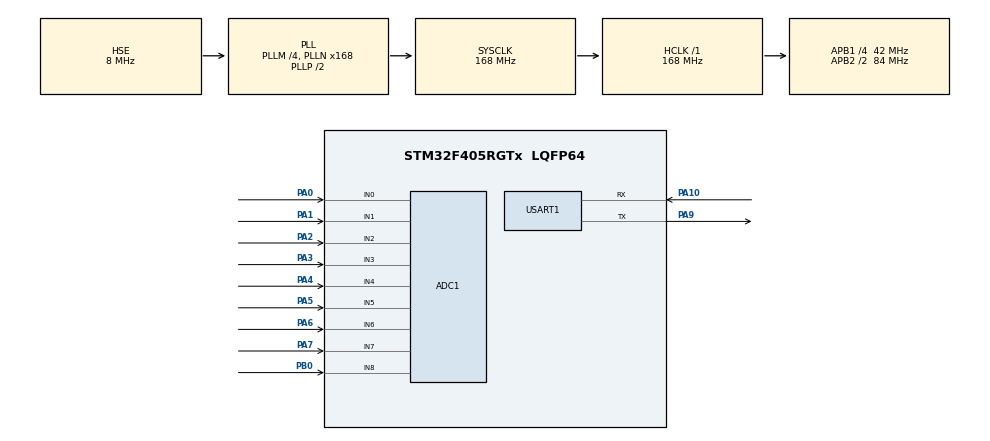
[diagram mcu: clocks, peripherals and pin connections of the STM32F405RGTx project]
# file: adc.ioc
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ADC1.Channel-0\#ChannelRegularConversion=ADC_CHANNEL_0
ADC1.Channel-1\#ChannelRegularConversion=ADC_CHANNEL_1
ADC1.Channel-2\#ChannelRegularConversion=ADC_CHANNEL_2
ADC1.Channel-3\#ChannelRegularConversion=ADC_CHANNEL_3
ADC1.Channel-4\#ChannelRegularConversion=ADC_CHANNEL_4
ADC1.Channel-5\#ChannelRegularConversion=ADC_CHANNEL_5
ADC1.Channel-6\#ChannelRegularConversion=ADC_CHANNEL_6
ADC1.Channel-7\#ChannelRegularConversion=ADC_CHANNEL_7
ADC1.ContinuousConvMode=ENABLE
ADC1.EOCSelection=ADC_EOC_SEQ_CONV
ADC1.NbrOfConversion=8
ADC1.NbrOfConversionFlag=1
ADC1.Rank-0\#ChannelRegularConversion=1
ADC1.Rank-1\#ChannelRegularConversion=2
ADC1.Rank-2\#ChannelRegularConversion=3
ADC1.Rank-3\#ChannelRegularConversion=4
ADC1.Rank-4\#ChannelRegularConversion=5
ADC1.Rank-5\#ChannelRegularConversion=6
ADC1.Rank-6\#ChannelRegularConversion=7
ADC1.Rank-7\#ChannelRegularConversion=8
ADC1.SamplingTime-0\#ChannelRegularConversion=ADC_SAMPLETIME_15CYCLES
ADC1.SamplingTime-1\#ChannelRegularConversion=ADC_SAMPLETIME_15CYCLES
ADC1.SamplingTime-2\#ChannelRegularConversion=ADC_SAMPLETIME_3CYCLES
ADC1.SamplingTime-3\#ChannelRegularConversion=ADC_SAMPLETIME_3CYCLES
ADC1.SamplingTime-4\#ChannelRegularConversion=ADC_SAMPLETIME_3CYCLES
ADC1.SamplingTime-5\#ChannelRegularConversion=ADC_SAMPLETIME_3CYCLES
ADC1.SamplingTime-6\#ChannelRegularConversion=ADC_SAMPLETIME_3CYCLES
ADC1.SamplingTime-7\#ChannelRegularConversion=ADC_SAMPLETIME_3CYCLES
ADC1.ScanConvMode=ENABLE
ADC1.master=1
Dma.ADC1.1.Direction=DMA_PERIPH_TO_MEMORY
Dma.ADC1.1.FIFOMode=DMA_FIFOMODE_DISABLE
Dma.ADC1.1.Instance=DMA2_Stream0
Dma.ADC1.1.MemDataAlignment=DMA_MDATAALIGN_HALFWORD
Dma.ADC1.1.MemInc=DMA_MINC_ENABLE
Dma.ADC1.1.Mode=DMA_CIRCULAR
Dma.ADC1.1.PeriphDataAlignment=DMA_PDATAALIGN_HALFWORD
Dma.ADC1.1.PeriphInc=DMA_PINC_DISABLE
Dma.ADC1.1.Priority=DMA_PRIORITY_LOW
Dma.Request0=USART1_RX
Dma.Request1=ADC1
Dma.USART1_RX.0.Direction=DMA_PERIPH_TO_MEMORY
Dma.USART1_RX.0.FIFOMode=DMA_FIFOMODE_DISABLE
Dma.USART1_RX.0.Instance=DMA2_Stream2
Dma.USART1_RX.0.MemDataAlignment=DMA_MDATAALIGN_BYTE
Dma.USART1_RX.0.MemInc=DMA_MINC_ENABLE
Dma.USART1_RX.0.Mode=DMA_NORMAL
Dma.USART1_RX.0.PeriphDataAlignment=DMA_PDATAALIGN_BYTE
Dma.USART1_RX.0.PeriphInc=DMA_PINC_DISABLE
Dma.USART1_RX.0.Priority=DMA_PRIORITY_LOW
Mcu.Family=STM32F4
Mcu.Name=STM32F405RGTx
Mcu.Package=LQFP64
NVIC.ADC_IRQn=true\:0\:0\:false\:false\:true\:true\:true
NVIC.DMA2_Stream0_IRQn=true\:0\:0\:false\:false\:true\:false\:true
NVIC.DMA2_Stream2_IRQn=true\:0\:0\:false\:false\:true\:false\:true
NVIC.PriorityGroup=NVIC_PRIORITYGROUP_4
NVIC.TIM7_IRQn=true\:0\:0\:false\:false\:true\:false\:true
NVIC.TimeBase=TIM7_IRQn
NVIC.TimeBaseIP=TIM7
NVIC.USART1_IRQn=true\:0\:0\:false\:false\:true\:true\:true
PA0-WKUP.Signal=ADCx_IN0
PA1.Signal=ADCx_IN1
PA10.Mode=Asynchronous
PA10.Signal=USART1_RX
PA13.Mode=Serial_Wire
PA13.Signal=SYS_JTMS-SWDIO
PA14.Mode=Serial_Wire
PA14.Signal=SYS_JTCK-SWCLK
PA2.Signal=ADCx_IN2
PA3.Signal=ADCx_IN3
PA4.Signal=ADCx_IN4
PA5.Signal=ADCx_IN5
PA6.Signal=ADCx_IN6
PA7.Signal=ADCx_IN7
PA9.Mode=Asynchronous
PA9.Signal=USART1_TX
PB0.Signal=ADCx_IN8
PH0-OSC_IN.Mode=HSE-External-Oscillator
PH0-OSC_IN.Signal=RCC_OSC_IN
PH1-OSC_OUT.Mode=HSE-External-Oscillator
PH1-OSC_OUT.Signal=RCC_OSC_OUT
ProjectManager.HeapSize=0x200
ProjectManager.StackSize=0x400
ProjectManager.TargetToolchain=STM32CubeIDE
RCC.48MHZClocksFreq_Value=84000000
RCC.AHBFreq_Value=168000000
RCC.APB1CLKDivider=RCC_HCLK_DIV4
RCC.APB1Freq_Value=42000000
RCC.APB1TimFreq_Value=84000000
RCC.APB2CLKDivider=RCC_HCLK_DIV2
RCC.APB2Freq_Value=84000000
RCC.APB2TimFreq_Value=168000000
RCC.CortexFreq_Value=168000000
RCC.HCLKFreq_Value=168000000
RCC.HSE_VALUE=8000000
RCC.HSI_VALUE=16000000
RCC.LSE_VALUE=32768
RCC.PLLM=4
RCC.PLLN=168
RCC.PLLSourceVirtual=RCC_PLLSOURCE_HSE
RCC.SYSCLKFreq_VALUE=168000000
RCC.SYSCLKSource=RCC_SYSCLKSOURCE_PLLCLK
RCC.VCOOutputFreq_Value=336000000
SH.ADCx_IN0.0=ADC1_IN0,IN0
SH.ADCx_IN1.0=ADC1_IN1,IN1
SH.ADCx_IN2.0=ADC1_IN2,IN2
SH.ADCx_IN3.0=ADC1_IN3,IN3
SH.ADCx_IN4.0=ADC1_IN4,IN4
SH.ADCx_IN5.0=ADC1_IN5,IN5
SH.ADCx_IN6.0=ADC1_IN6,IN6
SH.ADCx_IN7.0=ADC1_IN7,IN7
SH.ADCx_IN8.0=ADC1_IN8,IN8
TIM3.Period=500
TIM3.Prescaler=8400
USART1.VirtualMode=VM_ASYNC
VP_SYS_VS_tim7.Mode=TIM7
VP_TIM3_VS_ClockSourceINT.Mode=Internal
board=custom

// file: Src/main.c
/* USER CODE BEGIN Header */
/**
  ******************************************************************************
  * @file           : main.c
  * @brief          : Main program body
  ******************************************************************************
  * @attention
  *
  * <h2><center>&copy; Copyright (c) 2019 STMicroelectronics.
  * All rights reserved.</center></h2>
  *
  * This software component is licensed by ST under BSD 3-Clause license,
  * the "License"; You may not use this file except in compliance with the
  * License. You may obtain a copy of the License at:
  *                        opensource.org/licenses/BSD-3-Clause
  *
  ******************************************************************************
  */
/* USER CODE END Header */

#include "main.h"

/* USER CODE BEGIN PM */
void HAL_ADC_ConvCpltCallback(ADC_HandleTypeDef* hadc);
double value1,value2,value3,value4,p1,p2,p3,p4;
int n=0;
uint16_t buf[8];
/* USER CODE END PM */

ADC_HandleTypeDef hadc1;
DMA_HandleTypeDef hdma_adc1;

TIM_HandleTypeDef htim3;

UART_HandleTypeDef huart1;
DMA_HandleTypeDef hdma_usart1_rx;

void SystemClock_Config(void);
static void MX_GPIO_Init(void);
static void MX_DMA_Init(void);
static void MX_ADC1_Init(void);
static void MX_USART1_UART_Init(void);
static void MX_TIM3_Init(void);

int main(void)
{

  /* MCU Configuration--------------------------------------------------------*/

  /* Reset of all peripherals, Initializes the Flash interface and the Systick. */
  HAL_Init();

  /* Configure the system clock */
  SystemClock_Config();

  /* Initialize all configured peripherals */
  MX_GPIO_Init();
  MX_DMA_Init();
  MX_ADC1_Init();
  MX_USART1_UART_Init();
  MX_TIM3_Init();
  /* USER CODE BEGIN 2 */
  HAL_Delay(500);
  HAL_ADC_Start_DMA(&hadc1,buf,8);
  //HAL_TIM_Base_Start_IT(&htim3);
  /* USER CODE END 2 */

  /* Infinite loop */
  /* USER CODE BEGIN WHILE */
  while (1)
  {
//      HAL_ADC_Start_IT(&hadc1);
//      adc_value=HAL_ADC_GetValue(&hadc1);
//     adc_data=adc_value*(double)3.3/4096;

//      HAL_UART_Transmit(&huart1,(uint8_t*)&adc_data,10,1000);
//      HAL_Delay(500);

    /* USER CODE END WHILE */

  }
}

void SystemClock_Config(void)
{
  RCC_OscInitTypeDef RCC_OscInitStruct = {0};
  RCC_ClkInitTypeDef RCC_ClkInitStruct = {0};

  /** Configure the main internal regulator output voltage
  */
  __HAL_RCC_PWR_CLK_ENABLE();
  __HAL_PWR_VOLTAGESCALING_CONFIG(PWR_REGULATOR_VOLTAGE_SCALE1);
  /** Initializes the CPU, AHB and APB busses clocks
  */
  RCC_OscInitStruct.OscillatorType = RCC_OSCILLATORTYPE_HSE;
  RCC_OscInitStruct.HSEState = RCC_HSE_ON;
  RCC_OscInitStruct.PLL.PLLState = RCC_PLL_ON;
  RCC_OscInitStruct.PLL.PLLSource = RCC_PLLSOURCE_HSE;
  RCC_OscInitStruct.PLL.PLLM = 4;
  RCC_OscInitStruct.PLL.PLLN = 168;
  RCC_OscInitStruct.PLL.PLLP = RCC_PLLP_DIV2;
  RCC_OscInitStruct.PLL.PLLQ = 4;
  if (HAL_RCC_OscConfig(&RCC_OscInitStruct) != HAL_OK)
  {
    Error_Handler();
  }
  /** Initializes the CPU, AHB and APB busses clocks
  */
  RCC_ClkInitStruct.ClockType = RCC_CLOCKTYPE_HCLK|RCC_CLOCKTYPE_SYSCLK
                              |RCC_CLOCKTYPE_PCLK1|RCC_CLOCKTYPE_PCLK2;
  RCC_ClkInitStruct.SYSCLKSource = RCC_SYSCLKSOURCE_PLLCLK;
  RCC_ClkInitStruct.AHBCLKDivider = RCC_SYSCLK_DIV1;
  RCC_ClkInitStruct.APB1CLKDivider = RCC_HCLK_DIV4;
  RCC_ClkInitStruct.APB2CLKDivider = RCC_HCLK_DIV2;

  if (HAL_RCC_ClockConfig(&RCC_ClkInitStruct, FLASH_LATENCY_5) != HAL_OK)
  {
    Error_Handler();
  }
}

static void MX_ADC1_Init(void)
{

  ADC_ChannelConfTypeDef sConfig = {0};

  /** Configure the global features of the ADC (Clock, Resolution, Data Alignment and number of conversion)
  */
  hadc1.Instance = ADC1;
  hadc1.Init.ClockPrescaler = ADC_CLOCK_SYNC_PCLK_DIV4;
  hadc1.Init.Resolution = ADC_RESOLUTION_12B;
  hadc1.Init.ScanConvMode = ENABLE;
  hadc1.Init.ContinuousConvMode = ENABLE;
  hadc1.Init.DiscontinuousConvMode = DISABLE;
  hadc1.Init.ExternalTrigConvEdge = ADC_EXTERNALTRIGCONVEDGE_NONE;
  hadc1.Init.ExternalTrigConv = ADC_SOFTWARE_START;
  hadc1.Init.DataAlign = ADC_DATAALIGN_RIGHT;
  hadc1.Init.NbrOfConversion = 8;
  hadc1.Init.DMAContinuousRequests = DISABLE;
  hadc1.Init.EOCSelection = ADC_EOC_SEQ_CONV;
  if (HAL_ADC_Init(&hadc1) != HAL_OK)
  {
    Error_Handler();
  }
  /** Configure for the selected ADC regular channel its corresponding rank in the sequencer and its sample time.
  */
  sConfig.Channel = ADC_CHANNEL_0;
  sConfig.Rank = 1;
  sConfig.SamplingTime = ADC_SAMPLETIME_15CYCLES;
  if (HAL_ADC_ConfigChannel(&hadc1, &sConfig) != HAL_OK)
  {
    Error_Handler();
  }
  /** Configure for the selected ADC regular channel its corresponding rank in the sequencer and its sample time.
  */
  sConfig.Channel = ADC_CHANNEL_1;
  sConfig.Rank = 2;
  if (HAL_ADC_ConfigChannel(&hadc1, &sConfig) != HAL_OK)
  {
    Error_Handler();
  }
  /** Configure for the selected ADC regular channel its corresponding rank in the sequencer and its sample time.
  */
  sConfig.Channel = ADC_CHANNEL_2;
  sConfig.Rank = 3;
  sConfig.SamplingTime = ADC_SAMPLETIME_3CYCLES;
  if (HAL_ADC_ConfigChannel(&hadc1, &sConfig) != HAL_OK)
  {
    Error_Handler();
  }
  /** Configure for the selected ADC regular channel its corresponding rank in the sequencer and its sample time.
  */
  sConfig.Channel = ADC_CHANNEL_3;
  sConfig.Rank = 4;
  if (HAL_ADC_ConfigChannel(&hadc1, &sConfig) != HAL_OK)
  {
    Error_Handler();
  }
  /** Configure for the selected ADC regular channel its corresponding rank in the sequencer and its sample time.
  */
  sConfig.Channel = ADC_CHANNEL_4;
  sConfig.Rank = 5;
  if (HAL_ADC_ConfigChannel(&hadc1, &sConfig) != HAL_OK)
  {
    Error_Handler();
  }
  /** Configure for the selected ADC regular channel its corresponding rank in the sequencer and its sample time.
  */
  sConfig.Channel = ADC_CHANNEL_5;
  sConfig.Rank = 6;
  if (HAL_ADC_ConfigChannel(&hadc1, &sConfig) != HAL_OK)
  {
    Error_Handler();
  }
  /** Configure for the selected ADC regular channel its corresponding rank in the sequencer and its sample time.
  */
  sConfig.Channel = ADC_CHANNEL_6;
  sConfig.Rank = 7;
  if (HAL_ADC_ConfigChannel(&hadc1, &sConfig) != HAL_OK)
  {
    Error_Handler();
  }
  /** Configure for the selected ADC regular channel its corresponding rank in the sequencer and its sample time.
  */
  sConfig.Channel = ADC_CHANNEL_7;
  sConfig.Rank = 8;
  if (HAL_ADC_ConfigChannel(&hadc1, &sConfig) != HAL_OK)
  {
    Error_Handler();
  }

}

static void MX_TIM3_Init(void)
{

  TIM_ClockConfigTypeDef sClockSourceConfig = {0};
  TIM_MasterConfigTypeDef sMasterConfig = {0};

  htim3.Instance = TIM3;
  htim3.Init.Prescaler = 8400;
  htim3.Init.CounterMode = TIM_COUNTERMODE_UP;
  htim3.Init.Period = 500;
  htim3.Init.ClockDivision = TIM_CLOCKDIVISION_DIV1;
  htim3.Init.AutoReloadPreload = TIM_AUTORELOAD_PRELOAD_DISABLE;
  if (HAL_TIM_Base_Init(&htim3) != HAL_OK)
  {
    Error_Handler();
  }
  sClockSourceConfig.ClockSource = TIM_CLOCKSOURCE_INTERNAL;
  if (HAL_TIM_ConfigClockSource(&htim3, &sClockSourceConfig) != HAL_OK)
  {
    Error_Handler();
  }
  sMasterConfig.MasterOutputTrigger = TIM_TRGO_RESET;
  sMasterConfig.MasterSlaveMode = TIM_MASTERSLAVEMODE_DISABLE;
  if (HAL_TIMEx_MasterConfigSynchronization(&htim3, &sMasterConfig) != HAL_OK)
  {
    Error_Handler();
  }

}

static void MX_USART1_UART_Init(void)
{

  huart1.Instance = USART1;
  huart1.Init.BaudRate = 115200;
  huart1.Init.WordLength = UART_WORDLENGTH_8B;
  huart1.Init.StopBits = UART_STOPBITS_1;
  huart1.Init.Parity = UART_PARITY_NONE;
  huart1.Init.Mode = UART_MODE_TX_RX;
  huart1.Init.HwFlowCtl = UART_HWCONTROL_NONE;
  huart1.Init.OverSampling = UART_OVERSAMPLING_16;
  if (HAL_UART_Init(&huart1) != HAL_OK)
  {
    Error_Handler();
  }

}

static void MX_DMA_Init(void)
{

  /* DMA controller clock enable */
  __HAL_RCC_DMA2_CLK_ENABLE();

  /* DMA interrupt init */
  /* DMA2_Stream0_IRQn interrupt configuration */
  HAL_NVIC_SetPriority(DMA2_Stream0_IRQn, 0, 0);
  HAL_NVIC_EnableIRQ(DMA2_Stream0_IRQn);
  /* DMA2_Stream2_IRQn interrupt configuration */
  HAL_NVIC_SetPriority(DMA2_Stream2_IRQn, 0, 0);
  HAL_NVIC_EnableIRQ(DMA2_Stream2_IRQn);

}

static void MX_GPIO_Init(void)
{

  /* GPIO Ports Clock Enable */
  __HAL_RCC_GPIOH_CLK_ENABLE();
  __HAL_RCC_GPIOA_CLK_ENABLE();
  __HAL_RCC_GPIOB_CLK_ENABLE();

}

/* USER CODE BEGIN 4 */
void HAL_ADC_ConvCpltCallback(ADC_HandleTypeDef* hadc)
{
  /* Prevent unused argument(s) compilation warning */
  UNUSED(hadc);
  if(n<10)
      {
	  value1+=(buf[0]-buf[1]);
	  value2+=(buf[2]-buf[3]);
	  value3+=(buf[4]-buf[5]);
	  value4+=(buf[6]-buf[7]);
      }
  if(n==9)
      {
	  p1=value1/10;
	  p2=value2/10;
	  p3=value3/10;
	  p4=value4/10;
	  value1=value2=value3=value4=0;
      }
  n++;
//  for(n=0;n<10;n++)
//      {
//	  if(!(n%2))
//	      {
//		  value1+=buf[n];
//	      }
//	  if(n%2)
//	      {
//		  value2+=buf[n];
//	      }
//	  if(n==9)
//	      {
//		  p1=value1/5.0;
//		  p2=value2/5.0;
//		  value=value1-value2;
//		  value1=0;
//		  value2=0;
//	      }
//      }
  /* NOTE : This function Should not be modified, when the callback is needed,
            the HAL_ADC_ConvCpltCallback could be implemented in the user file
   */
}
/* USER CODE END 4 */

void HAL_TIM_PeriodElapsedCallback(TIM_HandleTypeDef *htim)
{
  /* USER CODE BEGIN Callback 0 */

//    adc_value=HAL_ADC_GetValue(&hadc1);
//    adc_data=adc_value*(double)3.3/4092;
//    n++;
//    num[n]=adc_data;
//    if(n==10)
//	{
//	    n=0;
//	    for(int i=0;i<10;i++)
//		{
//		    Num+=num[i];
//		}
//	    Num=Num/10;
//	}
  /* USER CODE END Callback 0 */
  if (htim->Instance == TIM7) {
    HAL_IncTick();
  }
}

void Error_Handler(void)
{
}

/************************ (C) COPYRIGHT STMicroelectronics *****END OF FILE****/
